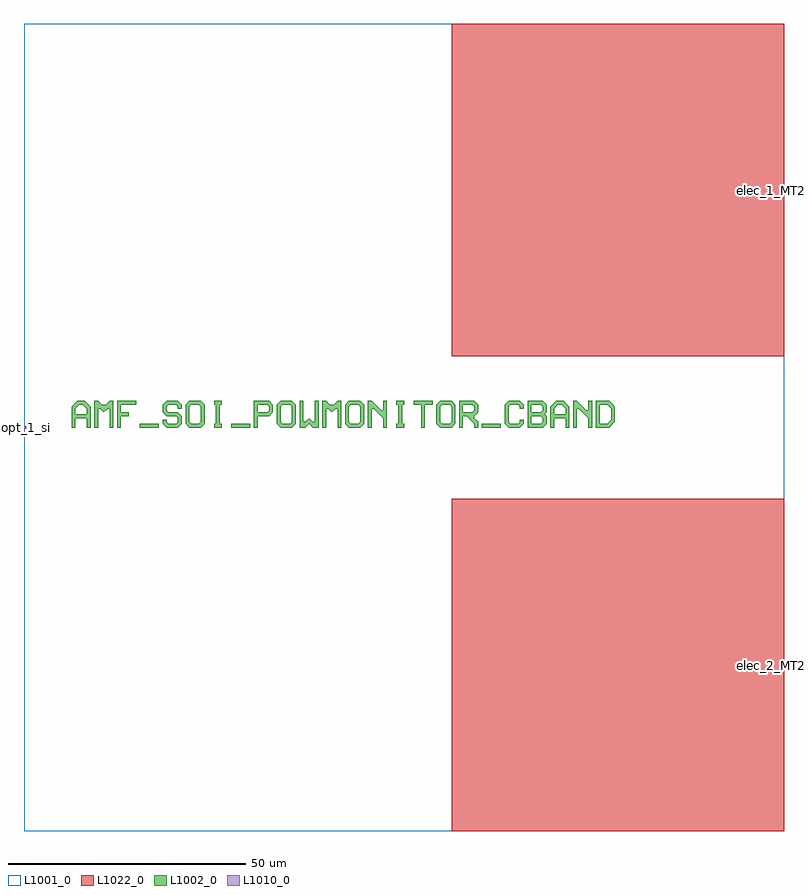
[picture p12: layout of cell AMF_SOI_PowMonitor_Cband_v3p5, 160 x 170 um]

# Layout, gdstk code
import gdstk
lib = gdstk.Library(unit=1e-6, precision=1e-09)
def R(c, l, rs):  # rectangles x0, y0, x1, y1
    for r in rs: c.add(gdstk.rectangle(r[:2], r[2:], *l))
def P(c, l, *ps):  # polygons
    for p in ps: c.add(gdstk.Polygon(p, *l))
L1001_0 = (1001, 0)
L1002_0 = (1002, 0)
L1010_0 = (1010, 0)
L1022_0 = (1022, 0)

amf_soi_powmonitor_cband = lib.new_cell('AMF_SOI_PowMonitor_Cband_v3p5')
R(amf_soi_powmonitor_cband, L1001_0, [(0,-85,160,85)])
R(amf_soi_powmonitor_cband, L1002_0, [(24.404,-0.003,28.404,0.797), (43.604,-0.003,47.604,0.797), (96.404,-0.003,100.404,0.797)])
P(amf_soi_powmonitor_cband, L1002_0, [(10.004,-0.003),(10.004,4.397),(11.204,5.597),(12.804,5.597),(13.604,4.797),(11.604,4.797),(10.804,3.997),(10.804,2.797),(13.204,2.797),(13.204,3.997),(12.404,4.797),(13.604,4.797),(14.004,4.397),(14.004,-0.003),(13.204,-0.003),(13.204,1.997),(10.804,1.997),(10.804,-0.003)],
  [(14.804,-0.003),(14.804,5.597),(15.604,5.597),(16.404,4.797),(17.204,4.797),(18.004,5.597),(18.804,5.597),(18.804,-0.003),(18.004,-0.003),(18.004,3.997),(17.604,3.997),(16.804,3.197),(16.004,3.997),(15.604,3.997),(15.604,-0.003)],
  [(19.604,-0.003),(19.604,5.597),(23.604,5.597),(23.604,4.797),(20.404,4.797),(20.404,3.197),(22.004,3.197),(22.004,2.397),(20.404,2.397),(20.404,-0.003)],
  [(30.004,-0.003),(29.204,0.797),(29.204,1.597),(30.004,1.597),(30.004,1.197),(30.404,0.797),(32.004,0.797),(32.404,1.197),(32.404,1.997),(32.004,2.397),(30.004,2.397),(29.204,3.197),(29.204,4.797),(30.004,5.597),(32.404,5.597),(33.204,4.797),(33.204,3.997),(32.404,3.997),(32.404,4.397),(32.004,4.797),(30.404,4.797),(30.004,4.397),(30.004,3.597),(30.404,3.197),(32.404,3.197),(33.204,2.397),(33.204,0.797),(32.404,-0.003)],
  [(34.804,-0.003),(34.004,0.797),(34.004,4.797),(34.804,5.597),(37.204,5.597),(38.004,4.797),(38.004,2.797),(37.204,2.797),(37.204,4.397),(36.804,4.797),(35.204,4.797),(34.804,4.397),(34.804,1.197),(35.204,0.797),(36.804,0.797),(37.204,1.197),(37.204,2.797),(38.004,2.797),(38.004,0.797),(37.204,-0.003)],
  [(40.004,-0.003),(40.004,0.797),(40.404,0.797),(40.404,4.797),(40.004,4.797),(40.004,5.597),(41.604,5.597),(41.604,4.797),(41.204,4.797),(41.204,0.797),(41.604,0.797),(41.604,-0.003)],
  [(48.404,-0.003),(48.404,5.597),(51.604,5.597),(52.404,4.797),(52.404,3.197),(51.604,2.397),(49.204,2.397),(49.204,3.197),(51.204,3.197),(51.604,3.597),(51.604,4.397),(51.204,4.797),(49.204,4.797),(49.204,-0.003)],
  [(54.004,-0.003),(53.204,0.797),(53.204,4.797),(54.004,5.597),(56.404,5.597),(57.204,4.797),(57.204,2.797),(56.404,2.797),(56.404,4.397),(56.004,4.797),(54.404,4.797),(54.004,4.397),(54.004,1.197),(54.404,0.797),(56.004,0.797),(56.404,1.197),(56.404,2.797),(57.204,2.797),(57.204,0.797),(56.404,-0.003)],
  [(58.004,-0.003),(58.004,5.597),(58.804,5.597),(58.804,1.197),(59.204,1.197),(60.004,1.997),(60.804,1.197),(61.204,1.197),(61.204,5.597),(62.004,5.597),(62.004,-0.003),(60.804,-0.003),(60.004,0.797),(59.204,-0.003)],
  [(62.804,-0.003),(62.804,5.597),(63.604,5.597),(64.404,4.797),(65.204,4.797),(66.004,5.597),(66.804,5.597),(66.804,-0.003),(66.004,-0.003),(66.004,3.997),(65.604,3.997),(64.804,3.197),(64.004,3.997),(63.604,3.997),(63.604,-0.003)],
  [(68.404,-0.003),(67.604,0.797),(67.604,4.797),(68.404,5.597),(70.804,5.597),(71.604,4.797),(71.604,2.797),(70.804,2.797),(70.804,4.397),(70.404,4.797),(68.804,4.797),(68.404,4.397),(68.404,1.197),(68.804,0.797),(70.404,0.797),(70.804,1.197),(70.804,2.797),(71.604,2.797),(71.604,0.797),(70.804,-0.003)],
  [(72.404,-0.003),(72.404,5.597),(73.204,5.597),(75.204,3.597),(75.604,3.597),(75.604,5.597),(76.404,5.597),(76.404,-0.003),(75.604,-0.003),(75.604,1.997),(73.604,3.997),(73.204,3.997),(73.204,-0.003)],
  [(78.404,-0.003),(78.404,0.797),(78.804,0.797),(78.804,4.797),(78.404,4.797),(78.404,5.597),(80.004,5.597),(80.004,4.797),(79.604,4.797),(79.604,0.797),(80.004,0.797),(80.004,-0.003)],
  [(83.604,-0.003),(83.604,4.797),(82.004,4.797),(82.004,5.597),(86.004,5.597),(86.004,4.797),(84.404,4.797),(84.404,-0.003)],
  [(87.604,-0.003),(86.804,0.797),(86.804,4.797),(87.604,5.597),(90.004,5.597),(90.804,4.797),(90.804,2.797),(90.004,2.797),(90.004,4.397),(89.604,4.797),(88.004,4.797),(87.604,4.397),(87.604,1.197),(88.004,0.797),(89.604,0.797),(90.004,1.197),(90.004,2.797),(90.804,2.797),(90.804,0.797),(90.004,-0.003)],
  [(91.604,-0.003),(91.604,5.597),(94.804,5.597),(95.604,4.797),(92.404,4.797),(92.404,3.197),(94.404,3.197),(94.804,3.597),(94.804,4.397),(94.404,4.797),(95.604,4.797),(95.604,3.197),(94.804,2.397),(94.804,1.997),(95.604,1.197),(95.604,-0.003),(94.804,-0.003),(94.804,0.797),(93.204,2.397),(92.404,2.397),(92.404,-0.003)],
  [(102.004,-0.003),(101.204,0.797),(101.204,4.797),(102.004,5.597),(104.404,5.597),(105.204,4.797),(105.204,3.997),(104.404,3.997),(104.404,4.397),(104.004,4.797),(102.404,4.797),(102.004,4.397),(102.004,1.197),(102.404,0.797),(104.004,0.797),(104.404,1.197),(104.404,1.597),(105.204,1.597),(105.204,0.797),(104.404,-0.003)],
  [(106.004,-0.003),(106.004,5.597),(109.204,5.597),(110.004,4.797),(106.804,4.797),(106.804,3.197),(108.804,3.197),(109.204,3.597),(109.204,4.397),(108.804,4.797),(110.004,4.797),(110.004,3.197),(109.604,2.797),(110.004,2.397),(106.804,2.397),(106.804,0.797),(108.804,0.797),(109.204,1.197),(109.204,1.997),(108.804,2.397),(110.004,2.397),(110.004,0.797),(109.204,-0.003)],
  [(110.804,-0.003),(110.804,4.397),(112.004,5.597),(113.604,5.597),(114.404,4.797),(112.404,4.797),(111.604,3.997),(111.604,2.797),(114.004,2.797),(114.004,3.997),(113.204,4.797),(114.404,4.797),(114.804,4.397),(114.804,-0.003),(114.004,-0.003),(114.004,1.997),(111.604,1.997),(111.604,-0.003)],
  [(115.604,-0.003),(115.604,5.597),(116.404,5.597),(118.404,3.597),(118.804,3.597),(118.804,5.597),(119.604,5.597),(119.604,-0.003),(118.804,-0.003),(118.804,1.997),(116.804,3.997),(116.404,3.997),(116.404,-0.003)],
  [(120.404,-0.003),(120.404,5.597),(123.204,5.597),(124.004,4.797),(121.204,4.797),(121.204,0.797),(122.804,0.797),(123.604,1.597),(123.604,3.997),(122.804,4.797),(124.004,4.797),(124.404,4.397),(124.404,1.197),(123.204,-0.003)])
R(amf_soi_powmonitor_cband, L1010_0, [(0,-0.25,0.5,0.25)])
R(amf_soi_powmonitor_cband, L1022_0, [(90,-85,160,-15), (90,15,160,85)])
amf_soi_powmonitor_cband.add(gdstk.Label('opt_1_si', (0,0), layer=1010, texttype=0))
amf_soi_powmonitor_cband.add(gdstk.Label('elec_1_MT2', (160,50), layer=1022, texttype=0))
amf_soi_powmonitor_cband.add(gdstk.Label('elec_2_MT2', (160,-50), layer=1022, texttype=0))

lib.write_gds('AMF_SOI_PowMonitor_Cband_v3p5.gds')
